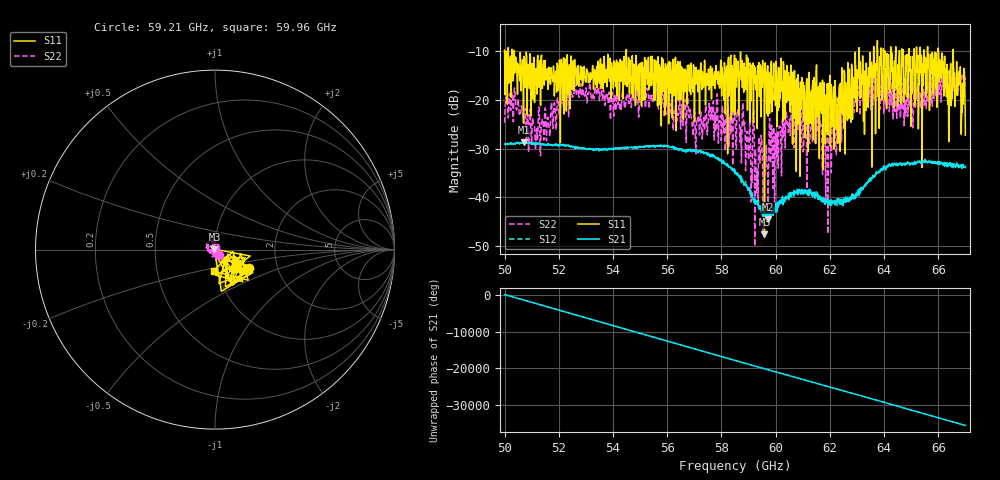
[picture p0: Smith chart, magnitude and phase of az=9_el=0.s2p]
!Created with skrf (http://scikit-rf.org).
# GHz S RI R 50.0
!freq ReS11 ImS11 ReS21 ImS21 ReS12 ImS12 ReS22 ImS22
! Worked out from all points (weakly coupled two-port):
!   1001 points, 50 GHz to 67 GHz, reference 50 ohm
!   highest |S21| = -28.75 dB at 50.7 GHz (marker M1); lowest = -44.5 dB at 59.72 GHz (marker M2)
!   lowest |S11| = -47.5 dB at 59.59 GHz (marker M3), VSWR 1.01, Z = 49.7 + j0.251 ohm
!   |S11| at or under -10 dB: 50.36 GHz to 54.49 GHz (4.13 GHz wide, 7.88 % of centre); 54.49 GHz to 63.07 GHz (8.582 GHz wide, 14.6 % of centre); 63.08 GHz to 63.61 GHz (537.7 MHz wide, 0.849 % of centre) (the widest 3 of 23)
!   |S22| runs from -50.0 to -14.1 dB; largest |S21 - S12| = 0.0021
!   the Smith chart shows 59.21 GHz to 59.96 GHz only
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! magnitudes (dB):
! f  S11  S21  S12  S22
! 50 GHz  -9.9  -29.0  -29.0  -24.8
! 50.7 GHz  -24.7  -28.7  -28.9  -23.8
! 51.38 GHz  -16.6  -29.0  -29.2  -24.5
! 52.84 GHz  -13.9  -29.9  -29.9  -19.3
! 55.68 GHz  -13.3  -29.5  -29.4  -21.9
! 56.99 GHz  -14.7  -30.4  -30.6  -22.0
! 58.5 GHz  -23.1  -34.4  -35.2  -24.1
! 59.13 GHz  -15.5  -39.1  -40.0  -37.0
! 59.32 GHz  -25.9  -41.4  -40.8  -34.2
! 59.59 GHz  -47.5  -42.7  -42.2  -31.3
! 59.72 GHz  -23.4  -44.5  -43.1  -41.1
! 60.64 GHz  -14.4  -39.0  -39.5  -22.3
! 61.34 GHz  -25.1  -39.1  -39.3  -25.9
! 61.88 GHz  -26.6  -40.9  -40.1  -23.3
! 62.55 GHz  -14.8  -40.4  -40.9  -19.5
! 63.01 GHz  -22.5  -39.6  -39.3  -19.9
! 63.33 GHz  -22.2  -37.5  -37.1  -19.2
! 64.18 GHz  -17.9  -33.2  -33.6  -18.6
! 66.08 GHz  -15.2  -33.1  -32.7  -15.7
! 66.42 GHz  -15.7  -32.8  -33.1  -16.4
! 66.75 GHz  -17.0  -33.6  -34.0  -18.1
! 67 GHz  -27.3  -33.9  -33.9  -15.4
